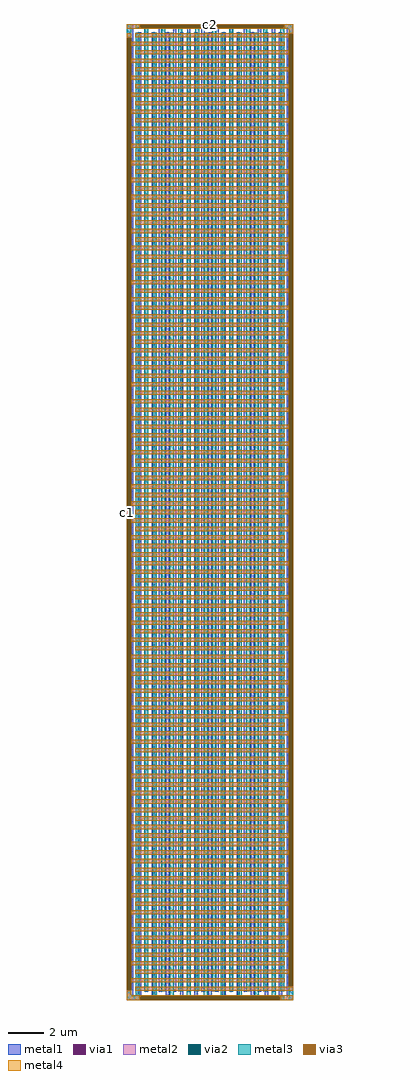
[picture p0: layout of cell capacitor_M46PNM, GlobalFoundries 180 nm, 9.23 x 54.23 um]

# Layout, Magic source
magic
tech gf180mcuD
magscale 3 26
<< metal1 >>
rect 0 9272 60 9400
rect 104 9399 1600 9400
rect 104 9359 142 9399
rect 1498 9359 1600 9399
rect 104 9358 1600 9359
rect 0 88 1 9272
rect 41 88 60 9272
rect 0 42 60 88
rect 104 42 136 9322
rect 172 78 204 9358
rect 240 42 272 9322
rect 308 78 340 9358
rect 376 42 408 9322
rect 444 78 476 9358
rect 512 42 544 9322
rect 580 78 612 9358
rect 648 42 680 9322
rect 716 78 748 9358
rect 784 42 816 9322
rect 852 78 884 9358
rect 920 42 952 9322
rect 988 78 1020 9358
rect 1056 42 1088 9322
rect 1124 78 1156 9358
rect 1192 42 1224 9322
rect 1260 78 1292 9358
rect 1328 42 1360 9322
rect 1396 78 1428 9358
rect 1464 42 1496 9322
rect 0 41 1496 42
rect 0 1 142 41
rect 1458 1 1496 41
rect 0 0 1496 1
rect 1540 9312 1600 9358
rect 1540 128 1559 9312
rect 1599 128 1600 9312
rect 1540 0 1600 128
<< via1 >>
rect 142 9359 1498 9399
rect 1 88 41 9272
rect 142 1 1458 41
rect 1559 128 1599 9312
<< metal2 >>
rect 0 9360 123 9400
rect 1517 9360 1600 9400
rect 0 9359 142 9360
rect 1498 9359 1600 9360
rect 0 9354 1600 9359
rect 1559 9312 1600 9354
rect 0 9272 41 9312
rect 84 9272 1559 9312
rect 41 9190 1516 9230
rect 84 9108 1559 9148
rect 41 9026 1516 9066
rect 84 8944 1559 8984
rect 41 8862 1516 8902
rect 84 8780 1559 8820
rect 41 8698 1516 8738
rect 84 8616 1559 8656
rect 41 8534 1516 8574
rect 84 8452 1559 8492
rect 41 8370 1516 8410
rect 84 8288 1559 8328
rect 41 8206 1516 8246
rect 84 8124 1559 8164
rect 41 8042 1516 8082
rect 84 7960 1559 8000
rect 41 7878 1516 7918
rect 84 7796 1559 7836
rect 41 7714 1516 7754
rect 84 7632 1559 7672
rect 41 7550 1516 7590
rect 84 7468 1559 7508
rect 41 7386 1516 7426
rect 84 7304 1559 7344
rect 41 7222 1516 7262
rect 84 7140 1559 7180
rect 41 7058 1516 7098
rect 84 6976 1559 7016
rect 41 6894 1516 6934
rect 84 6812 1559 6852
rect 41 6730 1516 6770
rect 84 6648 1559 6688
rect 41 6566 1516 6606
rect 84 6484 1559 6524
rect 41 6402 1516 6442
rect 84 6320 1559 6360
rect 41 6238 1516 6278
rect 84 6156 1559 6196
rect 41 6074 1516 6114
rect 84 5992 1559 6032
rect 41 5910 1516 5950
rect 84 5828 1559 5868
rect 41 5746 1516 5786
rect 84 5664 1559 5704
rect 41 5582 1516 5622
rect 84 5500 1559 5540
rect 41 5418 1516 5458
rect 84 5336 1559 5376
rect 41 5254 1516 5294
rect 84 5172 1559 5212
rect 41 5090 1516 5130
rect 84 5008 1559 5048
rect 41 4926 1516 4966
rect 84 4844 1559 4884
rect 41 4762 1516 4802
rect 84 4680 1559 4720
rect 41 4598 1516 4638
rect 84 4516 1559 4556
rect 41 4434 1516 4474
rect 84 4352 1559 4392
rect 41 4270 1516 4310
rect 84 4188 1559 4228
rect 41 4106 1516 4146
rect 84 4024 1559 4064
rect 41 3942 1516 3982
rect 84 3860 1559 3900
rect 41 3778 1516 3818
rect 84 3696 1559 3736
rect 41 3614 1516 3654
rect 84 3532 1559 3572
rect 41 3450 1516 3490
rect 84 3368 1559 3408
rect 41 3286 1516 3326
rect 84 3204 1559 3244
rect 41 3122 1516 3162
rect 84 3040 1559 3080
rect 41 2958 1516 2998
rect 84 2876 1559 2916
rect 41 2794 1516 2834
rect 84 2712 1559 2752
rect 41 2630 1516 2670
rect 84 2548 1559 2588
rect 41 2466 1516 2506
rect 84 2384 1559 2424
rect 41 2302 1516 2342
rect 84 2220 1559 2260
rect 41 2138 1516 2178
rect 84 2056 1559 2096
rect 41 1974 1516 2014
rect 84 1892 1559 1932
rect 41 1810 1516 1850
rect 84 1728 1559 1768
rect 41 1646 1516 1686
rect 84 1564 1559 1604
rect 41 1482 1516 1522
rect 84 1400 1559 1440
rect 41 1318 1516 1358
rect 84 1236 1559 1276
rect 41 1154 1516 1194
rect 84 1072 1559 1112
rect 41 990 1516 1030
rect 84 908 1559 948
rect 41 826 1516 866
rect 84 744 1559 784
rect 41 662 1516 702
rect 84 580 1559 620
rect 41 498 1516 538
rect 84 416 1559 456
rect 41 334 1516 374
rect 84 252 1559 292
rect 41 170 1516 210
rect 84 88 1600 128
rect 0 46 41 88
rect 0 41 1600 46
rect 0 40 142 41
rect 1458 40 1600 41
rect 0 0 123 40
rect 1477 0 1600 40
<< via2 >>
rect 123 9399 1517 9400
rect 123 9360 142 9399
rect 142 9360 1498 9399
rect 1498 9360 1517 9399
rect 0 88 1 9272
rect 1 88 40 9272
rect 1560 128 1599 9312
rect 1599 128 1600 9312
rect 123 1 142 40
rect 142 1 1458 40
rect 1458 1 1477 40
rect 123 0 1477 1
<< metal3 >>
rect 0 9272 41 9400
rect 83 9360 123 9400
rect 1517 9360 1600 9400
rect 40 88 41 9272
rect 0 40 41 88
rect 83 40 123 9318
rect 165 82 205 9360
rect 247 40 287 9318
rect 329 82 369 9360
rect 411 40 451 9318
rect 493 82 533 9360
rect 575 40 615 9318
rect 657 82 697 9360
rect 739 40 779 9318
rect 821 82 861 9360
rect 903 40 943 9318
rect 985 82 1025 9360
rect 1067 40 1107 9318
rect 1149 82 1189 9360
rect 1231 40 1271 9318
rect 1313 82 1353 9360
rect 1395 40 1435 9318
rect 1477 82 1517 9360
rect 1559 9312 1600 9360
rect 1559 128 1560 9312
rect 0 0 123 40
rect 1477 0 1517 40
rect 1559 0 1600 128
<< via3 >>
rect 123 9360 1517 9400
rect 0 88 40 9272
rect 1560 128 1600 9312
rect 123 0 1477 40
<< metal4 >>
rect 0 9360 123 9400
rect 1517 9360 1600 9400
rect 0 9354 1600 9360
rect 1560 9312 1600 9354
rect 0 9272 40 9312
rect 82 9272 1560 9312
rect 40 9190 1518 9230
rect 82 9108 1560 9148
rect 40 9026 1518 9066
rect 82 8944 1560 8984
rect 40 8862 1518 8902
rect 82 8780 1560 8820
rect 40 8698 1518 8738
rect 82 8616 1560 8656
rect 40 8534 1518 8574
rect 82 8452 1560 8492
rect 40 8370 1518 8410
rect 82 8288 1560 8328
rect 40 8206 1518 8246
rect 82 8124 1560 8164
rect 40 8042 1518 8082
rect 82 7960 1560 8000
rect 40 7878 1518 7918
rect 82 7796 1560 7836
rect 40 7714 1518 7754
rect 82 7632 1560 7672
rect 40 7550 1518 7590
rect 82 7468 1560 7508
rect 40 7386 1518 7426
rect 82 7304 1560 7344
rect 40 7222 1518 7262
rect 82 7140 1560 7180
rect 40 7058 1518 7098
rect 82 6976 1560 7016
rect 40 6894 1518 6934
rect 82 6812 1560 6852
rect 40 6730 1518 6770
rect 82 6648 1560 6688
rect 40 6566 1518 6606
rect 82 6484 1560 6524
rect 40 6402 1518 6442
rect 82 6320 1560 6360
rect 40 6238 1518 6278
rect 82 6156 1560 6196
rect 40 6074 1518 6114
rect 82 5992 1560 6032
rect 40 5910 1518 5950
rect 82 5828 1560 5868
rect 40 5746 1518 5786
rect 82 5664 1560 5704
rect 40 5582 1518 5622
rect 82 5500 1560 5540
rect 40 5418 1518 5458
rect 82 5336 1560 5376
rect 40 5254 1518 5294
rect 82 5172 1560 5212
rect 40 5090 1518 5130
rect 82 5008 1560 5048
rect 40 4926 1518 4966
rect 82 4844 1560 4884
rect 40 4762 1518 4802
rect 82 4680 1560 4720
rect 40 4598 1518 4638
rect 82 4516 1560 4556
rect 40 4434 1518 4474
rect 82 4352 1560 4392
rect 40 4270 1518 4310
rect 82 4188 1560 4228
rect 40 4106 1518 4146
rect 82 4024 1560 4064
rect 40 3942 1518 3982
rect 82 3860 1560 3900
rect 40 3778 1518 3818
rect 82 3696 1560 3736
rect 40 3614 1518 3654
rect 82 3532 1560 3572
rect 40 3450 1518 3490
rect 82 3368 1560 3408
rect 40 3286 1518 3326
rect 82 3204 1560 3244
rect 40 3122 1518 3162
rect 82 3040 1560 3080
rect 40 2958 1518 2998
rect 82 2876 1560 2916
rect 40 2794 1518 2834
rect 82 2712 1560 2752
rect 40 2630 1518 2670
rect 82 2548 1560 2588
rect 40 2466 1518 2506
rect 82 2384 1560 2424
rect 40 2302 1518 2342
rect 82 2220 1560 2260
rect 40 2138 1518 2178
rect 82 2056 1560 2096
rect 40 1974 1518 2014
rect 82 1892 1560 1932
rect 40 1810 1518 1850
rect 82 1728 1560 1768
rect 40 1646 1518 1686
rect 82 1564 1560 1604
rect 40 1482 1518 1522
rect 82 1400 1560 1440
rect 40 1318 1518 1358
rect 82 1236 1560 1276
rect 40 1154 1518 1194
rect 82 1072 1560 1112
rect 40 990 1518 1030
rect 82 908 1560 948
rect 40 826 1518 866
rect 82 744 1560 784
rect 40 662 1518 702
rect 82 580 1560 620
rect 40 498 1518 538
rect 82 416 1560 456
rect 40 334 1518 374
rect 82 252 1560 292
rect 40 170 1518 210
rect 82 88 1600 128
rect 0 46 40 88
rect 0 40 1600 46
rect 0 0 123 40
rect 1477 0 1600 40
<< labels >>
rlabel via3 2 4700 2 4700 0 c1
port 1 nsew
rlabel via3 800 9398 800 9398 0 c2
port 2 nsew
<< properties >>
string device csubckt cap_cmomf 0 0 1 1 w=8u l=47u mmin=1 mmax=4 subblock=0 mm_ok=1 c1 0 0 c2 0 0
string FIXED_BBOX 0 0 1600 9400
string gencell cap_cmomf
string library gf180mcu
string parameters w 8.00 l 47.00 value 483.912 class capacitor mmin metal1 mmax metal4 square 1 subblock 0 lmin 2.00 wmin 2.00 lmax 100.0 wmax 100.0
<< end >>
